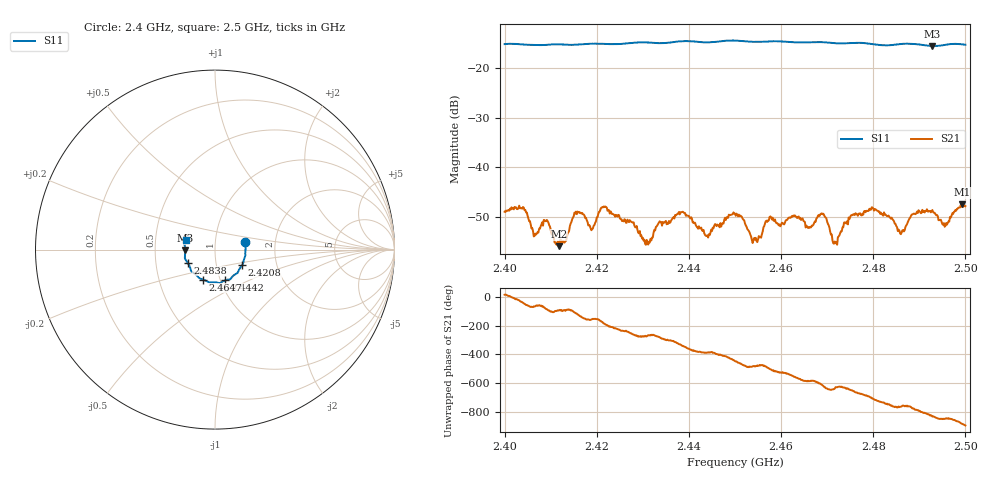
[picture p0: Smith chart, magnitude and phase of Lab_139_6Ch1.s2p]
# Hz S RI R 50
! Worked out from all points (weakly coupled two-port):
!   601 points, 2.4 GHz to 2.5 GHz, reference 50 ohm
!   highest |S21| = -47.45 dB at 2.4993 GHz (marker M1); lowest = -55.8 dB at 2.4118 GHz (marker M2)
!   lowest |S11| = -15.6 dB at 2.4928 GHz (marker M3), VSWR 1.40, Z = 35.8 - j0.365 ohm
!   |S11| at or under -10 dB: start of sweep to end of sweep
!   S12 and S22 are empty: the file has one direction only
!   S11 on the Smith chart (normalised r, x): 2.4 GHz: 1.40, +0.12; 2.4208 GHz: 1.33, -0.24; 2.4442 GHz: 1.05, -0.37; 2.4647 GHz: 0.83, -0.29; 2.4838 GHz: 0.73, -0.11; 2.5 GHz: 0.72, +0.08
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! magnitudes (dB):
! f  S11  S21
! 2.4 GHz  -15.2  -48.9
! 2.4118 GHz  -15.3  -55.8
! 2.4167 GHz  -15.3  -49.3
! 2.419 GHz  -15.2  -52.4
! 2.4208 GHz  -15.2  -48.3
! 2.431 GHz  -14.9  -55.3
! 2.4333 GHz  -15.0  -51.3
! 2.4387 GHz  -14.6  -48.9
! 2.4442 GHz  -14.9  -54.1
! 2.45 GHz  -14.5  -49.3
! 2.4543 GHz  -14.8  -54.5
! 2.4647 GHz  -14.9  -50.3
! 2.4667 GHz  -14.8  -51.7
! 2.4692 GHz  -14.9  -49.3
! 2.4717 GHz  -15.1  -54.9
! 2.4757 GHz  -15.0  -49.4
! 2.4833 GHz  -15.5  -49.7
! 2.4838 GHz  -15.4  -50.3
! 2.4863 GHz  -15.2  -52.7
! 2.4928 GHz  -15.6  -48.6
! 2.4993 GHz  -15.3  -47.4
! 2.5 GHz  -15.3  -47.8
